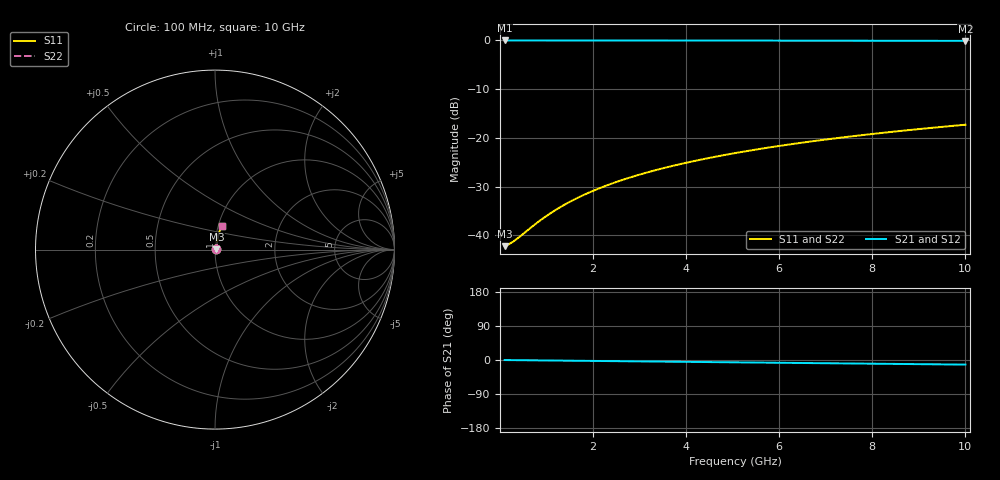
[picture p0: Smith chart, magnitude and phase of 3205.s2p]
# Hz S RI R 50.00
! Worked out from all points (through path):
!   100 points, 100 MHz to 10 GHz, reference 50 ohm
!   highest |S21| = -0.07 dB at 100 MHz (marker M1); lowest = -0.2 dB at 10 GHz (marker M2)
!   group delay of S21, straight-line fit = 3.38 ps
!   lowest |S11| = -42.2 dB at 100 MHz (marker M3), VSWR 1.02, Z = 50.8 + j0.138 ohm
!   |S11| at or under -10 dB: start of sweep to end of sweep
!   |S22| runs from -42.2 to -17.3 dB; largest |S21 - S12| = 0
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1e8  0.00764 0.00136  0.9924 -0.00212  0.9924 -0.00212  0.00764 0.00136
2e8  0.0077 0.00272  0.9923 -0.00423  0.9923 -0.00423  0.0077 0.00272
3e8  0.00775 0.00407  0.9922 -0.00634  0.9922 -0.00634  0.00775 0.00407
4e8  0.0078 0.00543  0.9922 -0.00846  0.9922 -0.00846  0.0078 0.00543
8e8  0.00803 0.0109  0.9919 -0.0169  0.9919 -0.0169  0.00803 0.0109
1.1e9  0.00824 0.0149  0.9917 -0.0233  0.9917 -0.0233  0.00824 0.0149
1.4e9  0.0085 0.019  0.9914 -0.0296  0.9914 -0.0296  0.0085 0.019
1.6e9  0.00869 0.0217  0.9912 -0.0338  0.9912 -0.0338  0.00869 0.0217
1.8e9  0.00891 0.0244  0.991 -0.038  0.991 -0.038  0.00891 0.0244
2.1e9  0.00928 0.0285  0.9906 -0.0444  0.9906 -0.0444  0.00928 0.0285
2.5e9  0.00984 0.0339  0.99 -0.0528  0.99 -0.0528  0.00984 0.0339
2.9e9  0.0105 0.0392  0.9892 -0.0612  0.9892 -0.0612  0.0105 0.0392
3.4e9  0.0114 0.0459  0.9882 -0.0717  0.9882 -0.0717  0.0114 0.0459
3.8e9  0.0123 0.0513  0.9873 -0.0801  0.9873 -0.0801  0.0123 0.0513
4.2e9  0.0132 0.0566  0.9862 -0.0884  0.9862 -0.0884  0.0132 0.0566
4.6e9  0.0143 0.0619  0.9851 -0.0968  0.9851 -0.0968  0.0143 0.0619
5.1e9  0.0157 0.0686  0.9835 -0.1072  0.9835 -0.1072  0.0157 0.0686
5.9e9  0.0183 0.0791  0.9807 -0.1238  0.9807 -0.1238  0.0183 0.0791
6.7e9  0.0212 0.0895  0.9775 -0.1403  0.9775 -0.1403  0.0212 0.0895
7.5e9  0.0244 0.0997  0.9739 -0.1566  0.9739 -0.1566  0.0244 0.0997
8.4e9  0.0285 0.1111  0.9694 -0.1749  0.9694 -0.1749  0.0285 0.1111
1e10  0.0368 0.1309  0.9603 -0.2069  0.9603 -0.2069  0.0368 0.1309
